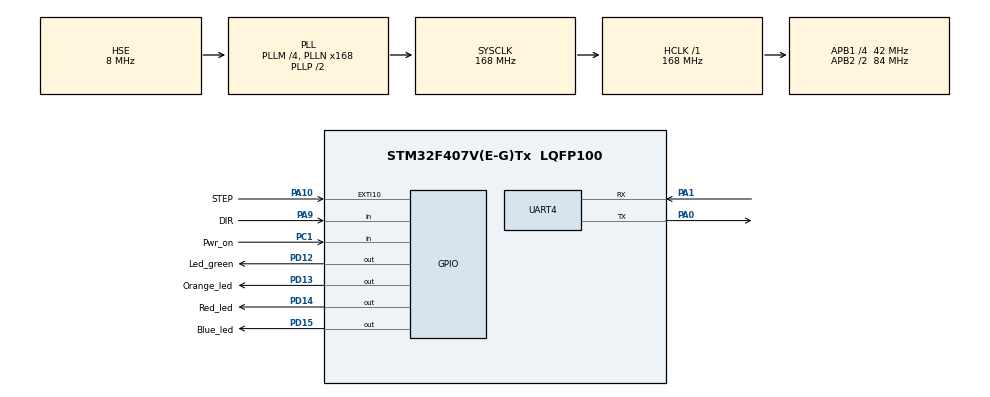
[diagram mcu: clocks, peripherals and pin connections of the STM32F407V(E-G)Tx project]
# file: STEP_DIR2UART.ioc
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Dma.Request0=UART4_TX
Dma.UART4_TX.0.Direction=DMA_MEMORY_TO_PERIPH
Dma.UART4_TX.0.FIFOMode=DMA_FIFOMODE_DISABLE
Dma.UART4_TX.0.Instance=DMA1_Stream4
Dma.UART4_TX.0.MemDataAlignment=DMA_MDATAALIGN_BYTE
Dma.UART4_TX.0.MemInc=DMA_MINC_ENABLE
Dma.UART4_TX.0.Mode=DMA_NORMAL
Dma.UART4_TX.0.PeriphDataAlignment=DMA_PDATAALIGN_BYTE
Dma.UART4_TX.0.PeriphInc=DMA_PINC_DISABLE
Dma.UART4_TX.0.Priority=DMA_PRIORITY_HIGH
Mcu.Family=STM32F4
Mcu.Name=STM32F407V(E-G)Tx
Mcu.Package=LQFP100
NVIC.DMA1_Stream4_IRQn=true\:0\:0\:false\:false\:true\:false\:true
NVIC.EXTI15_10_IRQn=true\:0\:0\:false\:false\:true\:true\:true
NVIC.PriorityGroup=NVIC_PRIORITYGROUP_4
NVIC.TIM6_DAC_IRQn=true\:0\:0\:false\:false\:true\:true\:true
NVIC.UART4_IRQn=true\:0\:0\:false\:false\:true\:true\:true
PA0-WKUP.Mode=Asynchronous
PA0-WKUP.Signal=UART4_TX
PA1.Mode=Asynchronous
PA1.Signal=UART4_RX
PA10.GPIO_Label=STEP
PA10.GPIO_PuPd=GPIO_PULLDOWN
PA10.Signal=GPXTI10
PA13.Mode=Serial_Wire
PA13.Signal=SYS_JTMS-SWDIO
PA14.Mode=Serial_Wire
PA14.Signal=SYS_JTCK-SWCLK
PA9.GPIO_Label=DIR
PA9.GPIO_PuPd=GPIO_PULLDOWN
PA9.Signal=GPIO_Input
PC1.GPIO_Label=Pwr_on
PC1.Signal=GPIO_Input
PD12.GPIO_Label=Led_green
PD12.Signal=GPIO_Output
PD13.GPIO_Label=Orange_led
PD13.Signal=GPIO_Output
PD14.GPIO_Label=Red_led
PD14.Signal=GPIO_Output
PD15.GPIO_Label=Blue_led
PD15.Signal=GPIO_Output
PH0-OSC_IN.Mode=HSE-External-Oscillator
PH0-OSC_IN.Signal=RCC_OSC_IN
PH1-OSC_OUT.Mode=HSE-External-Oscillator
PH1-OSC_OUT.Signal=RCC_OSC_OUT
ProjectManager.HeapSize=0xA00
ProjectManager.StackSize=0xFA0
ProjectManager.TargetToolchain=MDK-ARM V5.32
RCC.48MHZClocksFreq_Value=84000000
RCC.AHBFreq_Value=168000000
RCC.APB1CLKDivider=RCC_HCLK_DIV4
RCC.APB1Freq_Value=42000000
RCC.APB1TimFreq_Value=84000000
RCC.APB2CLKDivider=RCC_HCLK_DIV2
RCC.APB2Freq_Value=84000000
RCC.APB2TimFreq_Value=168000000
RCC.CortexFreq_Value=168000000
RCC.HCLKFreq_Value=168000000
RCC.HSE_VALUE=8000000
RCC.HSI_VALUE=16000000
RCC.LSE_VALUE=32768
RCC.PLLM=4
RCC.PLLN=168
RCC.PLLSourceVirtual=RCC_PLLSOURCE_HSE
RCC.SYSCLKFreq_VALUE=168000000
RCC.SYSCLKSource=RCC_SYSCLKSOURCE_PLLCLK
RCC.VCOOutputFreq_Value=336000000
TIM6.Period=5000
TIM6.Prescaler=41
UART4.VirtualMode=Asynchronous
VP_TIM6_VS_ClockSourceINT.Mode=Enable_Timer
board=custom

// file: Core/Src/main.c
/* USER CODE BEGIN Header */
/**
  ******************************************************************************
  * @file           : main.c
  * @brief          : Main program body
  ******************************************************************************
  * @attention
  *
  * Copyright (c) 2022 STMicroelectronics.
  * All rights reserved.
  *
  * This software is licensed under terms that can be found in the LICENSE file
  * in the root directory of this software component.
  * If no LICENSE file comes with this software, it is provided AS-IS.
  *
  ******************************************************************************
  */
/* USER CODE END Header */
#include "main.h"
#include "dma.h"
#include "tim.h"
#include "usart.h"
#include "gpio.h"

/* USER CODE BEGIN Includes */
#include "cobs.h"
/* USER CODE END Includes */

/* USER CODE BEGIN PTD */
typedef union float_u
{
	float var;
	uint8_t var_ar[4];
} float_u;

/* USER CODE END PTD */

/* USER CODE BEGIN PV */
uint8_t uart_send = 0;
double angle_f = 0.0f;

extern int32_t step_count;
uint8_t COBS_Buf[5] = {0};
uint8_t UART_TxBuf[15] = {0};
uint8_t UART_RxBuf[15] = {0};
float_u pack;
uint8_t flag_steps_present = 0;
float start_pozition = 0.0f;
/* USER CODE END PV */

void SystemClock_Config(void);

int main(void)
{

  /* MCU Configuration--------------------------------------------------------*/

  /* Reset of all peripherals, Initializes the Flash interface and the Systick. */
  HAL_Init();

  /* Configure the system clock */
  SystemClock_Config();

  /* Initialize all configured peripherals */
  MX_GPIO_Init();
  MX_DMA_Init();
  MX_TIM6_Init();
  MX_UART4_Init();

  /* Infinite loop */
  /* USER CODE BEGIN WHILE */
	HAL_TIM_Base_Start_IT(&htim6);
	size_t send_num;

	//HAL_Delay(2000);
	uint8_t cont = 1;
	char ch = 0xFF;
	float_u start_pos;
	float start_position_f = 0.0f;
	uint32_t zero_count = 0;
	while(cont)
	{
			HAL_UART_Receive(&huart4, &ch, 1, 100);
			if(ch == 0) zero_count ++;
			if (zero_count > 200)
			{
					HAL_UART_Receive(&huart4, &UART_RxBuf, 6, 100);
					uint8_t temp[10];
					cobs_decode(UART_RxBuf, 6, temp);

				  //memcpy(&start_pozition, temp, sizeof(float));
					memcpy(&start_pozition, temp, 4);
					//start_pos.var_ar[0] = temp[0];
					//start_pos.var_ar[1] = temp[1];
					//start_pos.var_ar[2] = temp[2];
					//start_pos.var_ar[3] = temp[3];
					//start_position_f = start_pos.var;
				//if ((start_pozition >= -180) && (start_pozition <=180))
					cont = 0;
			}
	}

  while (1)
  {
		if (HAL_GPIO_ReadPin(GPIOC, Pwr_on_Pin)) HAL_GPIO_WritePin(GPIOD, Red_led_Pin,1);
		else HAL_GPIO_WritePin(GPIOD, Red_led_Pin,0);

		//if ((uart_send == 1) && (HAL_GPIO_ReadPin(GPIOC, Pwr_on_Pin)))
		if (uart_send == 1)
		{
			HAL_GPIO_TogglePin(GPIOD, Orange_led_Pin);  // Orange_led
			uart_send = 0;
			angle_f = (360.0f*step_count)/STEP_PER_REV;
			pack.var = angle_f;
			pack.var = start_pozition - angle_f ;
			COBS_Buf[0] = 'p';
			COBS_Buf[1] = pack.var_ar[0];
			COBS_Buf[2] = pack.var_ar[1];
			COBS_Buf[3] = pack.var_ar[2];
			COBS_Buf[4] = pack.var_ar[3];
			send_num = cobs_encode(COBS_Buf, 5, UART_TxBuf);
			UART_TxBuf[send_num] = 0;
			HAL_UART_Transmit(&huart4, UART_TxBuf, send_num + 1, 100);
		}

    /* USER CODE END WHILE */

  }
}

void SystemClock_Config(void)
{
  RCC_OscInitTypeDef RCC_OscInitStruct = {0};
  RCC_ClkInitTypeDef RCC_ClkInitStruct = {0};

  /** Configure the main internal regulator output voltage
  */
  __HAL_RCC_PWR_CLK_ENABLE();
  __HAL_PWR_VOLTAGESCALING_CONFIG(PWR_REGULATOR_VOLTAGE_SCALE1);
  /** Initializes the RCC Oscillators according to the specified parameters
  * in the RCC_OscInitTypeDef structure.
  */
  RCC_OscInitStruct.OscillatorType = RCC_OSCILLATORTYPE_HSE;
  RCC_OscInitStruct.HSEState = RCC_HSE_ON;
  RCC_OscInitStruct.PLL.PLLState = RCC_PLL_ON;
  RCC_OscInitStruct.PLL.PLLSource = RCC_PLLSOURCE_HSE;
  RCC_OscInitStruct.PLL.PLLM = 4;
  RCC_OscInitStruct.PLL.PLLN = 168;
  RCC_OscInitStruct.PLL.PLLP = RCC_PLLP_DIV2;
  RCC_OscInitStruct.PLL.PLLQ = 4;
  if (HAL_RCC_OscConfig(&RCC_OscInitStruct) != HAL_OK)
  {
    Error_Handler();
  }
  /** Initializes the CPU, AHB and APB buses clocks
  */
  RCC_ClkInitStruct.ClockType = RCC_CLOCKTYPE_HCLK|RCC_CLOCKTYPE_SYSCLK
                              |RCC_CLOCKTYPE_PCLK1|RCC_CLOCKTYPE_PCLK2;
  RCC_ClkInitStruct.SYSCLKSource = RCC_SYSCLKSOURCE_PLLCLK;
  RCC_ClkInitStruct.AHBCLKDivider = RCC_SYSCLK_DIV1;
  RCC_ClkInitStruct.APB1CLKDivider = RCC_HCLK_DIV4;
  RCC_ClkInitStruct.APB2CLKDivider = RCC_HCLK_DIV2;

  if (HAL_RCC_ClockConfig(&RCC_ClkInitStruct, FLASH_LATENCY_5) != HAL_OK)
  {
    Error_Handler();
  }
}

void Error_Handler(void)
{
  __disable_irq();
  while (1)
  {
  }
}
